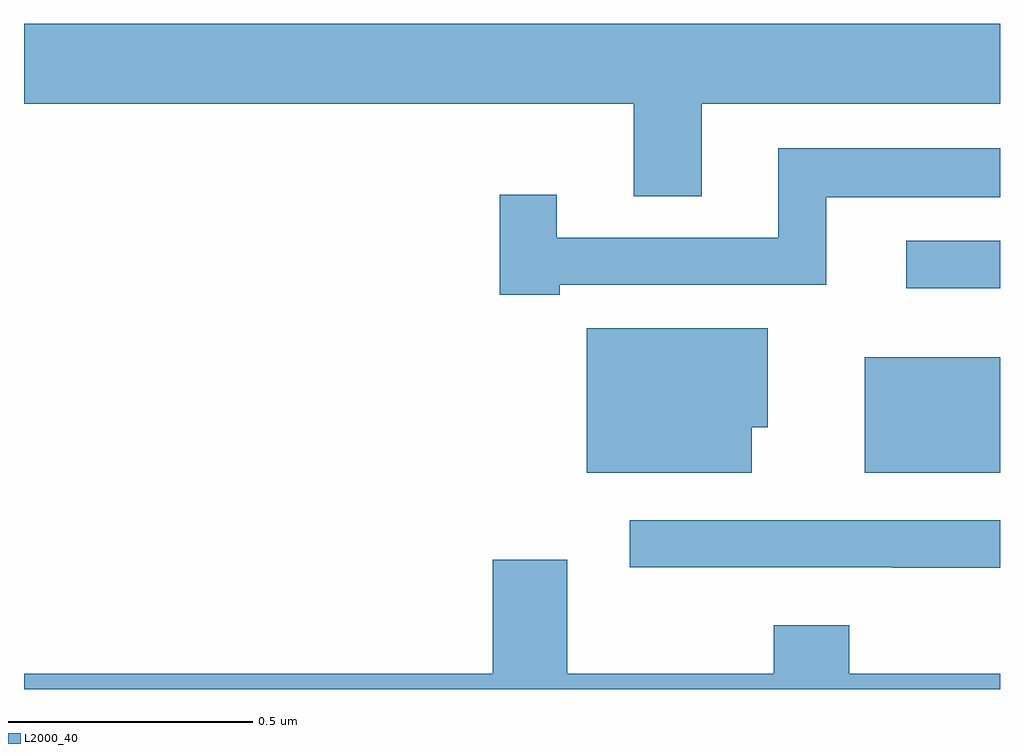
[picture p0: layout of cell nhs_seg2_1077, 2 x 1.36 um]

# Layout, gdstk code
import gdstk
lib = gdstk.Library(unit=1e-6, precision=1e-09)
def R(c, l, rs):  # rectangles x0, y0, x1, y1
    for r in rs: c.add(gdstk.rectangle(r[:2], r[2:], *l))
def P(c, l, *ps):  # polygons
    for p in ps: c.add(gdstk.Polygon(p, *l))
L2000_40 = (2000, 40)

nhs_seg2_1077 = lib.new_cell('nhs_seg2_1077')
R(nhs_seg2_1077, L2000_40, [(125.723,616.244,126,616.48), (125.808,616.622,126,616.719)])
P(nhs_seg2_1077, L2000_40, [(125.389,617),(126,617),(126,617.164),(124,617.164),(124,617),(125.249,617),(125.249,616.81),(125.389,616.81)],
  [(125.098,616.629),(125.644,616.629),(125.644,616.808),(126,616.808),(126,616.909),(125.546,616.909),(125.546,616.725),(125.092,616.725),(125.092,616.813),(124.975,616.813),(124.975,616.609),(125.098,616.609)],
  [(125.491,616.337),(125.524,616.337),(125.524,616.54),(125.153,616.54),(125.153,616.244),(125.491,616.244)],
  [(126,616.146),(125.241,616.146),(125.241,616.05),(125.779,616.05),(125.779,616.049),(126,616.049)],
  [(126,615.832),(125.691,615.832),(125.691,615.931),(125.536,615.931),(125.536,615.832),(125.113,615.832),(125.113,616.066),(124.961,616.066),(124.961,615.832),(124,615.832),(124,615.8),(126,615.8)])

lib.write_gds('nhs_seg2_1077.gds')
